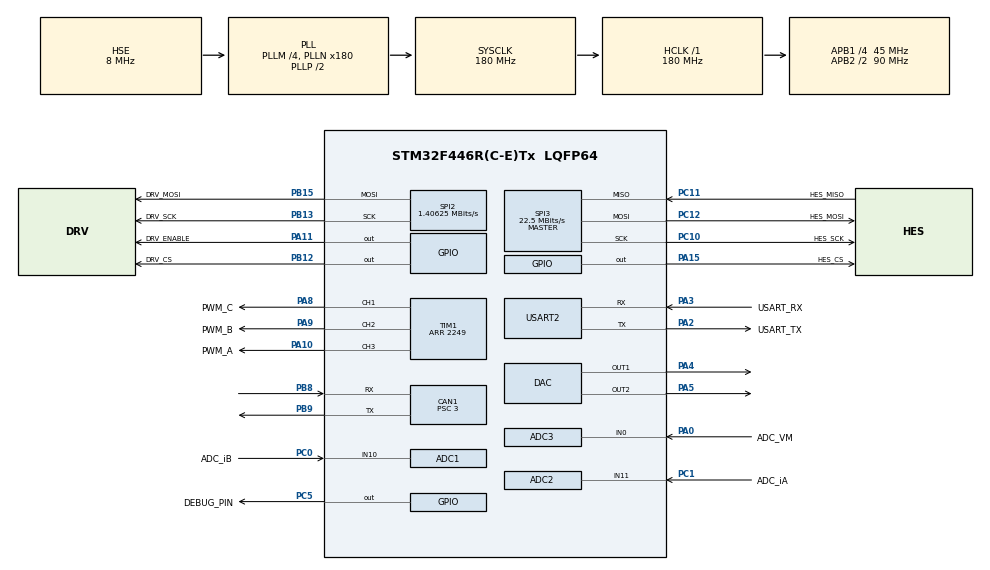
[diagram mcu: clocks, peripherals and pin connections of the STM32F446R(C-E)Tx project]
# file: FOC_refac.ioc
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ADC1.Channel-0\#ChannelRegularConversion=ADC_CHANNEL_10
ADC1.Mode=ADC_TRIPLEMODE_REGSIMULT
ADC1.NbrOfConversion=1
ADC1.NbrOfConversionFlag=1
ADC1.Rank-0\#ChannelRegularConversion=1
ADC1.SamplingTime-0\#ChannelRegularConversion=ADC_SAMPLETIME_3CYCLES
ADC1.master=1
ADC2.Channel-1\#ChannelRegularConversion=ADC_CHANNEL_11
ADC2.ClockPrescaler=ADC_CLOCK_SYNC_PCLK_DIV4
ADC2.Mode=ADC_TRIPLEMODE_REGSIMULT
ADC2.NbrOfConversionFlag=1
ADC2.Rank-1\#ChannelRegularConversion=1
ADC2.SamplingTime-1\#ChannelRegularConversion=ADC_SAMPLETIME_3CYCLES
ADC3.Channel-0\#ChannelRegularConversion=ADC_CHANNEL_0
ADC3.NbrOfConversionFlag=1
ADC3.Rank-0\#ChannelRegularConversion=1
ADC3.Resolution=ADC_RESOLUTION_12B
ADC3.SamplingTime-0\#ChannelRegularConversion=ADC_SAMPLETIME_3CYCLES
CAN1.BS1=CAN_BS1_12TQ
CAN1.BS2=CAN_BS2_2TQ
CAN1.CalculateBaudRate=1000000
CAN1.CalculateTimeBit=1000
CAN1.CalculateTimeQuantum=66.66666666666666
CAN1.Mode=CAN_MODE_NORMAL
CAN1.Prescaler=3
DAC.DAC_OutputBuffer=DAC_OUTPUTBUFFER_DISABLE
DAC.DAC_OutputBuffer2=DAC_OUTPUTBUFFER_DISABLE
Dma.Request0=SPI3_TX
Dma.Request1=SPI3_RX
Dma.SPI3_RX.1.Direction=DMA_PERIPH_TO_MEMORY
Dma.SPI3_RX.1.FIFOMode=DMA_FIFOMODE_DISABLE
Dma.SPI3_RX.1.Instance=DMA1_Stream0
Dma.SPI3_RX.1.MemDataAlignment=DMA_MDATAALIGN_HALFWORD
Dma.SPI3_RX.1.MemInc=DMA_MINC_ENABLE
Dma.SPI3_RX.1.Mode=DMA_NORMAL
Dma.SPI3_RX.1.PeriphDataAlignment=DMA_PDATAALIGN_HALFWORD
Dma.SPI3_RX.1.PeriphInc=DMA_PINC_DISABLE
Dma.SPI3_RX.1.Priority=DMA_PRIORITY_LOW
Dma.SPI3_TX.0.Direction=DMA_MEMORY_TO_PERIPH
Dma.SPI3_TX.0.FIFOMode=DMA_FIFOMODE_DISABLE
Dma.SPI3_TX.0.Instance=DMA1_Stream5
Dma.SPI3_TX.0.MemDataAlignment=DMA_MDATAALIGN_HALFWORD
Dma.SPI3_TX.0.MemInc=DMA_MINC_ENABLE
Dma.SPI3_TX.0.Mode=DMA_NORMAL
Dma.SPI3_TX.0.PeriphDataAlignment=DMA_PDATAALIGN_HALFWORD
Dma.SPI3_TX.0.PeriphInc=DMA_PINC_DISABLE
Dma.SPI3_TX.0.Priority=DMA_PRIORITY_LOW
Mcu.Family=STM32F4
Mcu.Name=STM32F446R(C-E)Tx
Mcu.Package=LQFP64
NVIC.CAN1_RX0_IRQn=true\:0\:0\:false\:false\:true\:true\:true\:true
NVIC.DMA1_Stream0_IRQn=true\:0\:0\:false\:false\:true\:false\:true\:true
NVIC.DMA1_Stream5_IRQn=true\:0\:0\:false\:false\:true\:false\:true\:true
NVIC.PriorityGroup=NVIC_PRIORITYGROUP_0
NVIC.TIM1_UP_TIM10_IRQn=true\:0\:0\:false\:false\:true\:true\:true\:true
NVIC.USART2_IRQn=true\:0\:0\:false\:false\:true\:true\:true\:true
PA0-WKUP.GPIO_Label=ADC_VM
PA0-WKUP.Signal=ADCx_IN0
PA10.GPIO_Label=PWM_A
PA10.GPIO_Speed=GPIO_SPEED_FREQ_VERY_HIGH
PA10.Signal=S_TIM1_CH3
PA11.GPIO_Label=DRV_ENABLE
PA11.Signal=GPIO_Output
PA13.GPIO_Label=SWDIO
PA13.Mode=Serial_Wire
PA13.Signal=SYS_JTMS-SWDIO
PA14.GPIO_Label=SWCLK
PA14.Mode=Serial_Wire
PA14.Signal=SYS_JTCK-SWCLK
PA15.GPIO_Label=HES_CS
PA15.Signal=GPIO_Output
PA2.GPIO_Label=USART_TX
PA2.Mode=Asynchronous
PA2.Signal=USART2_TX
PA3.GPIO_Label=USART_RX
PA3.Mode=Asynchronous
PA3.Signal=USART2_RX
PA4.Signal=COMP_DAC1_group
PA5.Signal=COMP_DAC2_group
PA8.GPIO_Label=PWM_C
PA8.GPIO_Speed=GPIO_SPEED_FREQ_VERY_HIGH
PA8.Signal=S_TIM1_CH1
PA9.GPIO_Label=PWM_B
PA9.GPIO_Speed=GPIO_SPEED_FREQ_VERY_HIGH
PA9.Signal=S_TIM1_CH2
PB12.GPIO_Label=DRV_CS
PB12.Signal=GPIO_Output
PB13.GPIO_Label=DRV_SCK
PB13.Mode=TX_Only_Simplex_Unidirect_Master
PB13.Signal=SPI2_SCK
PB14.GPIO_Label=DRV_MISO
PB14.Signal=SPI2_MISO
PB15.GPIO_Label=DRV_MOSI
PB15.Mode=TX_Only_Simplex_Unidirect_Master
PB15.Signal=SPI2_MOSI
PB3.Signal=SYS_JTDO-SWO
PB8.Mode=CAN_Activate
PB8.Signal=CAN1_RX
PB9.Mode=CAN_Activate
PB9.Signal=CAN1_TX
PC0.GPIO_Label=ADC_iB
PC0.Signal=ADCx_IN10
PC1.GPIO_Label=ADC_iA
PC1.Signal=ADCx_IN11
PC10.GPIO_Label=HES_SCK
PC10.Mode=Full_Duplex_Master
PC10.Signal=SPI3_SCK
PC11.GPIO_Label=HES_MISO
PC11.Mode=Full_Duplex_Master
PC11.Signal=SPI3_MISO
PC12.GPIO_Label=HES_MOSI
PC12.Mode=Full_Duplex_Master
PC12.Signal=SPI3_MOSI
PC5.GPIO_Label=DEBUG_PIN
PC5.Signal=GPIO_Output
PH0-OSC_IN.Mode=HSE-External-Oscillator
PH0-OSC_IN.Signal=RCC_OSC_IN
PH1-OSC_OUT.Mode=HSE-External-Oscillator
PH1-OSC_OUT.Signal=RCC_OSC_OUT
ProjectManager.HeapSize=0x200
ProjectManager.StackSize=0x400
ProjectManager.TargetToolchain=STM32CubeIDE
RCC.48MHZClocksFreq_Value=84000000
RCC.AHBFreq_Value=180000000
RCC.APB1CLKDivider=RCC_HCLK_DIV4
RCC.APB1Freq_Value=45000000
RCC.APB1TimFreq_Value=90000000
RCC.APB2CLKDivider=RCC_HCLK_DIV2
RCC.APB2Freq_Value=90000000
RCC.APB2TimFreq_Value=180000000
RCC.CortexFreq_Value=180000000
RCC.FLatency-AdvancedSettings=FLASH_LATENCY_5
RCC.HCLKFreq_Value=180000000
RCC.HSE_VALUE=8000000
RCC.HSI_VALUE=16000000
RCC.PLLI2SM=2
RCC.PLLM=4
RCC.PLLN=180
RCC.PLLSourceVirtual=RCC_PLLSOURCE_HSE
RCC.RCC_MCODiv1=RCC_MCODIV_2
RCC.SYSCLKFreq_VALUE=180000000
RCC.SYSCLKSource=RCC_SYSCLKSOURCE_PLLCLK
RCC.USBFreq_Value=180000000
RCC.VCOOutputFreq_Value=360000000
SH.ADCx_IN0.0=ADC3_IN0,IN0
SH.ADCx_IN10.0=ADC1_IN10,IN10
SH.ADCx_IN11.0=ADC2_IN11,IN11
SH.COMP_DAC1_group.0=DAC_OUT1,DAC_OUT1
SH.COMP_DAC2_group.0=DAC_OUT2,DAC_OUT2
SH.S_TIM1_CH1.0=TIM1_CH1,PWM Generation1 CH1
SH.S_TIM1_CH2.0=TIM1_CH2,PWM Generation2 CH2
SH.S_TIM1_CH3.0=TIM1_CH3,PWM Generation3 CH3
SPI2.BaudRatePrescaler=SPI_BAUDRATEPRESCALER_32
SPI2.CLKPhase=SPI_PHASE_2EDGE
SPI2.CalculateBaudRate=1.40625 MBits/s
SPI2.DataSize=SPI_DATASIZE_16BIT
SPI2.Direction=SPI_DIRECTION_2LINES
SPI2.Mode=SPI_MODE_MASTER
SPI2.VirtualType=VM_MASTER
SPI3.BaudRatePrescaler=SPI_BAUDRATEPRESCALER_2
SPI3.CLKPhase=SPI_PHASE_2EDGE
SPI3.CalculateBaudRate=22.5 MBits/s
SPI3.DataSize=SPI_DATASIZE_16BIT
SPI3.Direction=SPI_DIRECTION_2LINES
SPI3.Mode=SPI_MODE_MASTER
SPI3.VirtualType=VM_MASTER
TIM1.AutoReloadPreload=TIM_AUTORELOAD_PRELOAD_ENABLE
TIM1.Channel-PWM\ Generation1\ CH1=TIM_CHANNEL_1
TIM1.Channel-PWM\ Generation2\ CH2=TIM_CHANNEL_2
TIM1.Channel-PWM\ Generation3\ CH3=TIM_CHANNEL_3
TIM1.CounterMode=TIM_COUNTERMODE_CENTERALIGNED1
TIM1.OCFastMode_PWM-PWM\ Generation1\ CH1=TIM_OCFAST_ENABLE
TIM1.OCFastMode_PWM-PWM\ Generation2\ CH2=TIM_OCFAST_ENABLE
TIM1.OCFastMode_PWM-PWM\ Generation3\ CH3=TIM_OCFAST_ENABLE
TIM1.OCMode_PWM-PWM\ Generation1\ CH1=TIM_OCMODE_PWM1
TIM1.OCMode_PWM-PWM\ Generation2\ CH2=TIM_OCMODE_PWM1
TIM1.OCMode_PWM-PWM\ Generation3\ CH3=TIM_OCMODE_PWM1
TIM1.OCPolarity_1=TIM_OCPOLARITY_LOW
TIM1.OCPolarity_2=TIM_OCPOLARITY_LOW
TIM1.OCPolarity_3=TIM_OCPOLARITY_LOW
TIM1.Period=2249
TIM1.RepetitionCounter=1
USART2.VirtualMode=VM_ASYNC
VP_TIM1_VS_ClockSourceINT.Mode=Internal
board=NUCLEO-F446RE

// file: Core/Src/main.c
/* USER CODE BEGIN Header */
/**
  ******************************************************************************
  * @file           : main.c
  * @brief          : Main program body
  ******************************************************************************
  * @attention
  *
  * Copyright (c) 2022 STMicroelectronics.
  * All rights reserved.
  *
  * This software is licensed under terms that can be found in the LICENSE file
  * in the root directory of this software component.
  * If no LICENSE file comes with this software, it is provided AS-IS.
  *
  ******************************************************************************
  */
/* USER CODE END Header */
#include "main.h"
#include "adc.h"
#include "can.h"
#include "dac.h"
#include "dma.h"
#include "spi.h"
#include "tim.h"
#include "usart.h"
#include "gpio.h"

/* USER CODE BEGIN Includes */
#include "ES_Configure.h"
#include "ES_Framework.h"
#include "ES_Port.h"
#include "termio.h"

#include <stdio.h>
#include "stm32f4xx.h"                  // Device header

#include <stdint.h>
#include <stdbool.h>
#include <string.h>

#include "DRV.h"
#include "FOC.h"
#include "HES.h"
#include "Calibration.h"

/* USER CODE END Includes */

/* USER CODE BEGIN PD */
#define clrScrn() 	printf("\x1b[2J")
#define goHome()	printf("\x1b[1,1H")
#define clrLine()	printf("\x1b[K")

/* USER CODE END PD */

/* USER CODE BEGIN PV */
uint8_t UART2_rxBuffer;
uint8_t RxData = 0;
static volatile uint32_t DacState;
static volatile uint32_t DacState_2;

uint8_t CANFlag = 0;

//static double global_count = 0;

CAN_FilterTypeDef sFilterConfig;
CAN_TxHeaderTypeDef TxMessage;
CAN_RxHeaderTypeDef RxMessage;
uint8_t CANTxData[8];
uint32_t TxMailbox;
uint8_t CANRxData[8];

uint8_t hes_buffer_rx[2];
uint16_t hes_tx_message = ( (PARC<<15) | (W0_READ<<14) | ANGLEUNC );
uint8_t hes_buffer_tx[2]={0x00,0x00};

//SPI_HandleTypeDef hspi3;

//float dtc_u;
//float dtc_v;
//float dtc_w;
//uint32_t adc_a_raw;
//uint32_t adc_b_raw;
//uint32_t adc_a_offset = 0;
//uint32_t adc_b_offset = 0;

//ADC_HandleTypeDef hadc1;
//ADC_HandleTypeDef hadc2;
//SPI_HandleTypeDef hspi2;

foc_t foc;
calibration_t cal;
hes_t hes;

/* USER CODE END PV */

void SystemClock_Config(void);
/* USER CODE BEGIN PFP */

void init_DRV(foc_t* foc);
/*
int float_to_uint(float x, float x_min, float x_max);
float uint16_to_float(int x_int, float x_min, float x_max);
float uint8_to_float(int x_int, float x_min, float x_max);
*/
//void zero_current(foc_t *foc);

/* USER CODE END PFP */

/* USER CODE BEGIN 0 */
void HAL_TIM_PeriodElapsedCallback(TIM_HandleTypeDef *htim)
{
	//hes.counter++;
	//HAL_GPIO_TogglePin(GPIOC,GPIO_PIN_5); // debug pin
	//sample_ADC(&foc); // 4.2us !!!!!!!!!!!!!!!!!!!!!!!!!!
	//HES_ReadSensorDMA(&hes);
	//sample_HES(&foc,&cal,&hes);
	//HAL_DAC_SetValue(&hdac, DAC_CHANNEL_2, DAC_ALIGN_12B_R, 4094);

//
//	//for(int i=0;i<10000;i++){}
//
//	//printf("%ld\r\n",TIM1->CNT);
//
//
//	//HAL_GPIO_TogglePin(GPIOC,GPIO_PIN_5);
//	//HAL_DAC_SetValue(&hdac, DAC_CHANNEL_2, DAC_ALIGN_12B_R, 4094);
	HES_ReadSensorDMA(&hes);
//	sample_HES(&foc,&cal,&hes); //!!!!!!!!!!!!!!!!!!!!!!!!!!!!
//	//HAL_DAC_SetValue(&hdac, DAC_CHANNEL_2, DAC_ALIGN_12B_R, 0);
//
//	//HAL_DAC_SetValue(&hdac, DAC_CHANNEL_1, DAC_ALIGN_12B_R, 0);
//  	// if controller flag is on, then commutate
//	if(foc.voltage_FOC_flag == 1)
//	{
//		commutate(&foc,foc.theta_elec);
//
//		//HAL_DAC_SetValue(&hdac, DAC_CHANNEL_2, DAC_ALIGN_12B_R, 0);
//		//printf("%d \r\n",foc.torque_control_counter);
//		//HAL_DAC_SetValue(&hdac, DAC_CHANNEL_1, DAC_ALIGN_12B_R, (uint16_t)(foc.i_q*100000) );
//		//HAL_DAC_SetValue(&hdac, DAC_CHANNEL_1, DAC_ALIGN_12B_R, (uint16_t)(foc.i_q*4096));
//		//HAL_DAC_SetValue(&hdac, DAC_CHANNEL_2, DAC_ALIGN_12B_R, (uint16_t)(foc.i_d*4096));
//	}
//
//	else if(foc.controller_flag == 1)
//	{
//		//HAL_DAC_SetValue(&hdac, DAC_CHANNEL_2, DAC_ALIGN_12B_R, 4095);
//
//				// Uncomment for local torque controller
//				if(foc.torque_control_counter > 29)  // use 25 if using 25khz sampling freq
//				//if(foc.torque_control_counter > 25 && foc.torque_control_counter_total < 25*100)
//				{
//					torque_control(&foc); // **** ==== Uncomment to implement torque control within the MCU ==== ****
//					foc.torque_control_counter = 0;
//
//					 /*
//					foc.torque_control_counter_total++;
//					if(foc.torque_control_counter_total == 25*100)
//					{
//						HAL_GPIO_TogglePin(GPIOC,GPIO_PIN_5);// debug pin
//						foc.iq_ref = 0;
//						foc.id_ref = 0;
//						set_zero_DC();
//					}
//					 */
//
//					//HAL_DAC_SetValue(&hdac, DAC_CHANNEL_1, DAC_ALIGN_12B_R, 0);
//				}
//
//				foc.torque_control_counter++;
//				//HAL_DAC_SetValue(&hdac, DAC_CHANNEL_2, DAC_ALIGN_12B_R, 4094);
//				commutate_v2(&foc,foc.theta_elec);
//				//HAL_DAC_SetValue(&hdac, DAC_CHANNEL_2, DAC_ALIGN_12B_R, 0);
//
//	}
//
//	else if(foc.cal_flag == 1)
//	{
//		cal.loop_count++;
//		calibrate_HES2(&foc,&cal,cal.loop_count,&hes);
//	}
//	else if(foc.open_loop_test_flag == 1)
//	{
//		cal.loop_count++;
//		open_loop_test(&foc,&cal,cal.loop_count);
//	}
//	else if(foc.systemID_flag == 1)
//	{
//		cal.loop_count++;
//		commutate(&foc,foc.theta_elec);
//		//DacVal = (uint16_t)(foc.i_d*4096);
//		//HAL_DAC_SetValue(&hdac, DAC_CHANNEL_1, DAC_ALIGN_12B_R, DacVal );
//		if(cal.loop_count > 200)
//		{
//			foc.systemID_flag = 0; // set flag to zero to exit system ID state
//			cal.loop_count = 0;
//			set_zero_DC();
//			//HAL_DAC_SetValue(&hdac, DAC_CHANNEL_1, DAC_ALIGN_12B_R, 0);
//		}
//		printf("ia:%.3f ib:%.3f ic:%.3f u:%.3f v:%.3f w:%.3f id:%.3f iq:%.3f\r\n",foc.i_a,foc.i_b,foc.i_c,foc.v_u,foc.v_v,foc.v_w,foc.i_d,foc.i_q);
//
//	}
//	else
//	{
//		// do nothing
//	}
//	//HAL_DAC_SetValue(&hdac, DAC_CHANNEL_1, DAC_ALIGN_12B_R, (uint16_t)((foc.theta_dot_mech*4095)/50.0f));
//	//HAL_DAC_SetValue(&hdac, DAC_CHANNEL_2, DAC_ALIGN_12B_R, 0);
//	HAL_DAC_SetValue(&hdac, DAC_CHANNEL_2, DAC_ALIGN_12B_R, 0);

}
void HAL_SPI_TxRxCpltCallback(SPI_HandleTypeDef *hspi)
{
	//hes.counter++;
	//HAL_GPIO_TogglePin(GPIOC,GPIO_PIN_5); // debug pin
	HES_ReadSensorDMA_Complete(&hes);
	/*
	if(hspi->Instance == SPI3)
	{
		HES_ReadSensorDMA_Complete(&hes);
	}
	*/
	//while(1);
	/*
	hes_tx_message = ( (PARC<<15) | (W0_READ<<14) | ANGLEUNC ); // ANGLEUNC ANGLECOM
	hes_buffer_tx[0] = (uint8_t) (hes_tx_message & 0x00FF);
	hes_buffer_tx[1] = (uint8_t) ((hes_tx_message & 0xFF00)>>8);

	HAL_GPIO_WritePin(GPIOA, GPIO_PIN_15, GPIO_PIN_RESET);
	HAL_SPI_TransmitReceive_DMA(&hspi,hes_buffer_tx,hes_buffer_rx,2);
	HAL_GPIO_WritePin(GPIOA, GPIO_PIN_15, GPIO_PIN_SET);
	foc.theta_mech_raw = ( (hes_buffer_rx[1]<<8) | hes_buffer_rx[0] ) & 0x3FFF;
	*/
	//HAL_GPIO_WritePin(GPIOA, GPIO_PIN_15, GPIO_PIN_SET);
	//foc.theta_mech_raw = ( (hes_buffer_rx[1]<<8) | hes_buffer_rx[0] ) & 0x3FFF;
}
/* USER CODE END 0 */

int main(void)
{

  /* MCU Configuration--------------------------------------------------------*/

  /* Reset of all peripherals, Initializes the Flash interface and the Systick. */
  HAL_Init();

  /* Configure the system clock */
  SystemClock_Config();

  /* Initialize all configured peripherals */
  MX_GPIO_Init();
  MX_DMA_Init();
  MX_USART2_UART_Init();
  MX_TIM1_Init();
  MX_DAC_Init();
  MX_ADC1_Init();
  MX_ADC2_Init();
  MX_CAN1_Init();
  MX_SPI2_Init();
  MX_SPI3_Init();
  MX_ADC3_Init();
  /* USER CODE BEGIN 2 */

  /* CAN Config */
  HAL_CAN_Start(&hcan1);
  // Activate Rx CAN interrupt

  CANTxData[0] = 0x01;
  CANTxData[1] = 0x02;
  CANTxData[2] = 0x03;
  CANTxData[3] = 0x04;
  CANTxData[4] = 0x05;
  CANTxData[5] = 0x06;
  CANTxData[6] = 0x07;
  CANTxData[7] = 0x08; // in a single command, one can send 64 bits of data max

  /* DAC Config */
  HAL_DAC_Start(&hdac, DAC_CHANNEL_1);
  HAL_DAC_Start(&hdac, DAC_CHANNEL_2);
  DacState = 0;
  DacState_2 = 0;

  /*ADC Config */
  HAL_ADC_Start(&hadc1);
  HAL_ADC_Start(&hadc2);
  HAL_ADC_Start(&hadc3);

  /* Initialize the SPI DMA */

	//hes_buffer_tx[0] = (uint8_t) (hes_tx_message & 0x00FF);
	//hes_buffer_tx[1] = (uint8_t) ((hes_tx_message & 0xFF00)>>8);
  //hes->spiHandle = hspi3;

  hes_tx_message = ( (PARC<<15) | (W0_READ<<14) | ANGLEUNC ); // ANGLEUNC ANGLECOM
  hes_buffer_tx[0] = (uint8_t) (hes_tx_message & 0x00FF);
  hes_buffer_tx[1] = (uint8_t) ((hes_tx_message & 0xFF00)>>8);

  HAL_GPIO_WritePin(GPIOA, GPIO_PIN_15, GPIO_PIN_RESET);
  HAL_SPI_TransmitReceive_DMA(&hspi3,hes_buffer_tx,hes_buffer_rx,2);
  HAL_GPIO_WritePin(GPIOA, GPIO_PIN_15, GPIO_PIN_SET);
  foc.theta_mech_raw = ( (hes_buffer_rx[1]<<8) | hes_buffer_rx[0] ) & 0x3FFF;

  /* Init Terminal */
  //TERMIO_Init(); commented out since we're using HAL drivers for this /* Initialize Serial interface */
  clrScrn();

  printf("\n\r\n");
  printf("Starting Test Harness for \r\n");
  printf("the 2nd Generation Events & Services Framework V2.2\r\n");
  printf("%s %s\n",__TIME__, __DATE__);
  printf("\n\r\n");
  printf("MENU:\n\r");
  printf("Press 'q' Print List of Commands \n\r");
  printf("Press 'c' Print Variables \n\r");
  printf("Press 'k' Calibrate the HES \n\r");
  printf("Press 'p' Open Loop Test Post HES Calibration \n\r");
  printf("Press 'f' Run Voltage FOC \n\r");
  printf("Press 'i' System ID \n\r");
  printf("Press 'm' Turn ON the PI Controller \n\r");
  printf("Press 'o' Turn OFF the PI Controller \n\r");
  printf("Press 's' Query current state \n\r");
  printf("\n\r\n");

  /* Reset FOC Variables */
  reset_variables(&foc,&cal,&hes,&hspi3);
  warmup_HES();
  HAL_Delay(1000); // 1000 ms delay

  /* DRV INIT */
  HAL_GPIO_WritePin(GPIOA, GPIO_PIN_11, GPIO_PIN_RESET);
  HAL_Delay(2000); // 1000 ms delay
  HAL_GPIO_WritePin(GPIOB, GPIO_PIN_12, GPIO_PIN_SET); // start with CS line high for DRV
  init_DRV(&foc);

  /* PWM Config */
  HAL_TIM_PWM_Start(&htim1, TIM_CHANNEL_1);
  HAL_TIM_PWM_Start(&htim1, TIM_CHANNEL_2);
  HAL_TIM_PWM_Start(&htim1, TIM_CHANNEL_3);
  TIM1->CCR1 = (TIM1->ARR)*1050*0; // PA8
  TIM1->CCR2 = (TIM1->ARR)*500*0; // PA9
  TIM1->CCR3 = (TIM1->ARR)*250*0; // PA10

  /* Debug Pin */
  //HAL_GPIO_TogglePin(GPIOC,GPIO_PIN_5);

  /* HES CS Line */
  HAL_GPIO_WritePin(GPIOA, GPIO_PIN_15, GPIO_PIN_SET); // start with CS line high for HES

  /* Set Interrupt Priorities */
  NVIC_SetPriority(TIM1_UP_TIM10_IRQn, 1); // commutation > communication
  NVIC_SetPriority(CAN1_RX0_IRQn, 3);
  NVIC_SetPriority(USART2_IRQn, 4);

  /* Set DMA interrupt priority and enable */
  //MX_DMA_Init();

  /* Enable Interrupts */
  HAL_UART_Receive_IT(&huart2, &UART2_rxBuffer, 1);
  HAL_TIM_Base_Start_IT(&htim1);
  HAL_CAN_ActivateNotification(&hcan1, CAN_IT_RX_FIFO0_MSG_PENDING);

  HAL_DAC_SetValue(&hdac, DAC_CHANNEL_1, DAC_ALIGN_12B_R, 0);
  HAL_DAC_SetValue(&hdac, DAC_CHANNEL_2, DAC_ALIGN_12B_R, 0);

  // Now initialize the Events and Services Framework and start it running
  ES_Return_t ErrorType;
  ErrorType = ES_Initialize(ES_Timer_RATE_1mS); // SysTick 1 msec interrupts

  if ( ErrorType == Success ) {

	  ErrorType = ES_Run();
  }
  //if we got to here, there was an error
  switch (ErrorType){
  	  case FailedPost:
	    printf("Failed on attempt to Post\n");
	    break;
	  case FailedPointer:
	    printf("Failed on NULL pointer\n");
	    break;
	  case FailedInit:
	    printf("Failed Initialization\n");
	    break;
	 default:
	    printf("Other Failure\n");
	    break;
  }

  /* USER CODE END 2 */

  /* Infinite loop */
  /* USER CODE BEGIN WHILE */
  while (1)
  {
	//printf("count %f \n\r",global_count);
	//HAL_Delay(1000); // 1000 ms delay
//	printf("\r\nHello World");

    /* USER CODE END WHILE */

  }
}

void SystemClock_Config(void)
{
  RCC_OscInitTypeDef RCC_OscInitStruct = {0};
  RCC_ClkInitTypeDef RCC_ClkInitStruct = {0};

  /** Configure the main internal regulator output voltage
  */
  __HAL_RCC_PWR_CLK_ENABLE();
  __HAL_PWR_VOLTAGESCALING_CONFIG(PWR_REGULATOR_VOLTAGE_SCALE1);

  /** Initializes the RCC Oscillators according to the specified parameters
  * in the RCC_OscInitTypeDef structure.
  */
  RCC_OscInitStruct.OscillatorType = RCC_OSCILLATORTYPE_HSE;
  RCC_OscInitStruct.HSEState = RCC_HSE_ON;
  RCC_OscInitStruct.PLL.PLLState = RCC_PLL_ON;
  RCC_OscInitStruct.PLL.PLLSource = RCC_PLLSOURCE_HSE;
  RCC_OscInitStruct.PLL.PLLM = 4;
  RCC_OscInitStruct.PLL.PLLN = 180;
  RCC_OscInitStruct.PLL.PLLP = RCC_PLLP_DIV2;
  RCC_OscInitStruct.PLL.PLLQ = 2;
  RCC_OscInitStruct.PLL.PLLR = 2;
  if (HAL_RCC_OscConfig(&RCC_OscInitStruct) != HAL_OK)
  {
    Error_Handler();
  }

  /** Activate the Over-Drive mode
  */
  if (HAL_PWREx_EnableOverDrive() != HAL_OK)
  {
    Error_Handler();
  }

  /** Initializes the CPU, AHB and APB buses clocks
  */
  RCC_ClkInitStruct.ClockType = RCC_CLOCKTYPE_HCLK|RCC_CLOCKTYPE_SYSCLK
                              |RCC_CLOCKTYPE_PCLK1|RCC_CLOCKTYPE_PCLK2;
  RCC_ClkInitStruct.SYSCLKSource = RCC_SYSCLKSOURCE_PLLCLK;
  RCC_ClkInitStruct.AHBCLKDivider = RCC_SYSCLK_DIV1;
  RCC_ClkInitStruct.APB1CLKDivider = RCC_HCLK_DIV4;
  RCC_ClkInitStruct.APB2CLKDivider = RCC_HCLK_DIV2;

  if (HAL_RCC_ClockConfig(&RCC_ClkInitStruct, FLASH_LATENCY_5) != HAL_OK)
  {
    Error_Handler();
  }
}

/* USER CODE BEGIN 4 */

int __io_putchar(int ch) {
	HAL_UART_Transmit(&huart2, (uint8_t*)&ch, 1, 0xffff);
	return 0;
}

//int __io_getchar(void) {
//	HAL_UART_Receive(&huart2,(uint8_t *)UART2_rxBuffer, 1, 0xffff);
//	return 0;
//}
void HAL_UART_RxCpltCallback(UART_HandleTypeDef *huart)
{
    //HAL_UART_Transmit(&huart2, &UART2_rxBuffer, 1, 100);
	RxData=1;
	//HAL_GPIO_TogglePin(GPIOA,GPIO_PIN_5); // Toggle Green LED
    HAL_UART_Receive_IT(&huart2, &UART2_rxBuffer, 1);
}

void HAL_CAN_RxFifo0MsgPendingCallback(CAN_HandleTypeDef *hcan)
{

	//double GearRatio = 12.0;
	if(DacState == 0)
	{
		DacState = 4095;
		DacState_2 = 0;

	}
	else
	{
		DacState = 0;
		DacState_2 = 4095;
	}

	//HAL_DAC_SetValue(&hdac, DAC_CHANNEL_1, DAC_ALIGN_12B_R, DacState);

  // Read CAN
	//CANFlag = 1;
	//HAL_GPIO_TogglePin(GPIOC,GPIO_PIN_5);
	//HAL_GPIO_TogglePin(GPIOA,GPIO_PIN_5); // Toggle Green LED
	//HAL_GPIO_TogglePin(GPIOC,GPIO_PIN_5); // Toggle Green LED
	HAL_CAN_GetRxMessage(hcan, CAN_RX_FIFO0, &RxMessage, CANRxData); // CAN Rx
	//compose_msg(&TxMessage,foc.theta_mech,foc.theta_dot_mech);
	int theta_int,theta_dot_int,torque_cmd_int, led_flag, gen_cmd, dq_cmd_int,q_cmd_int,vq_cmd_int,iq_cmd_int,can_rx_vq_cmd_int,can_rx_iq_cmd_int;
	uint8_t kp_int,kd_int;
	float theta_float,theta_dot_float, dq_cmd_float,q_cmd_float,torque_cmd_float,kp_float,kd_float;

	//theta_int = float_to_uint(foc.theta_mech,-6.2831f,6.2831f);
	theta_int = float_to_uint16(foc.theta_mech_multiturn[0],-TWO_PI*GR,TWO_PI*GR);
	theta_dot_int = float_to_uint16(foc.theta_dot_mech,-SPEED_MAX,SPEED_MAX);
	//torque_cmd_int = float_to_uint(20.0f,-40.0f,40.0f);
	//torque_cmd_int = float_to_uint16(foc.i_a,-40.0f,40.0f);
	vq_cmd_int = float_to_uint16(foc.pi.vq_cmd,-V_MAX,V_MAX); // control voltage signal
	iq_cmd_int = float_to_uint16(foc.i_q,-I_MAX,I_MAX); // measured current signal
	// This is for troubleshooting the CAN Tx message
	//theta_int = float_to_uint(1.521,-6.2831f,6.2831f);
	//theta_dot_int = float_to_uint(21.23,-65.0f,65.0f);
	//theta_float = uint16_to_float(theta_int,-6.2831f,6.2831f);
	//theta_dot_float = uint16_to_float(theta_dot_int,-SPEED_MAX,SPEED_MAX);

	CANTxData[0] = theta_int>>8;    // get 8 MSB
	CANTxData[1] = theta_int&0xFF;  // get 8 LSB
	CANTxData[2] = theta_dot_int>>8;
	CANTxData[3] = theta_dot_int&0xFF;
	//CANTxData[4] = torque_cmd_int>>8;
	//CANTxData[5] = torque_cmd_int&0xFF;
	CANTxData[4] = vq_cmd_int>>8;
	CANTxData[5] = vq_cmd_int&0xFF;
	CANTxData[6] = iq_cmd_int>>8;
	CANTxData[7] = iq_cmd_int&0xFF;

	//for(int i=0;i<1000;i++){} // Delay
	HAL_CAN_AddTxMessage(&hcan1, &TxMessage, CANTxData, &TxMailbox); // CAN Tx
	//decompose_msg(&TxMessagefoc.can_rx_torques);
	//int torque_int = (CANRxData[0]<<8 | CANRxData[1]);

	//printf("KP: %u \n\r",kp_int);
	//printf("KP: %.3f \n\r",foc.kp);
	//printf("KD: %.3f \n\r",foc.kd);
	/*
	if(led_flag == 1)
	{
		HAL_GPIO_WritePin(GPIOC, GPIO_PIN_5, GPIO_PIN_SET); // turn LED on
	}
	else
	{
		HAL_GPIO_WritePin(GPIOC, GPIO_PIN_5, GPIO_PIN_RESET); // turn LED off
	}
	*/
	led_flag = CANRxData[0];
	gen_cmd = CANRxData[1];
	// switch statements to parse different CAN messages
	switch(gen_cmd)
	{
		case 1: // calibrate HES
			//foc.cal_flag = 1;
			CANFlag = 1;
			break;
		case 2: // turn off PI controller
			CANFlag = 2;
			/*
			foc.cal_flag = 0;
			foc.controller_flag = 0;
			foc.voltage_FOC_flag = 0;
			set_zero_DC();
			*/
			break;
		case 3: // run voltage FOC
			CANFlag = 3;
			//foc.voltage_FOC_flag = 1;
			can_rx_vq_cmd_int = (CANRxData[2]<<8 | CANRxData[3]);
			foc.can_rx.vq_cmd = uint16_to_float(can_rx_vq_cmd_int,-V_MAX,V_MAX);
			break;
		case 4: // position controller on
			CANFlag = 4;

			q_cmd_int = (CANRxData[2]<<8 | CANRxData[3]);
			kp_int = CANRxData[4];
			kd_int = CANRxData[5];
			q_cmd_float = uint16_to_float(q_cmd_int,-TWO_PI*GR,TWO_PI*GR);
			foc.can_rx.q = q_cmd_float;
			//foc.p_des = q_cmd_float;
			kp_float = uint8_to_float(kp_int,0.0f,0.1/foc.GAIN);
			kd_float = uint8_to_float(kd_int,0.0f,0.1/foc.GAIN);
			foc.kp = kp_float;
			foc.kd = kd_float;
			/*
		    foc.first_sample = 0.0;
		    foc.iq_ref = 0.0;
		    foc.id_ref = 0.0;
		    foc.theta_dot_mech_cmd = 0.1f;
		    //foc.theta_dot_mech_cmd = 30.0f;
		    foc.torque_control_counter_total = 0;
		    foc.p_des = 0.09f;
		    foc.controller_flag = 1;
		    foc.pos_control_flag = 1;
		    */
		    break;
		case 5: // speed controller on
			CANFlag = 5;
			dq_cmd_int = (CANRxData[2]<<8 | CANRxData[3]);
			kp_int = CANRxData[4];
			kd_int = CANRxData[5];
			dq_cmd_float = uint16_to_float(dq_cmd_int,-SPEED_MAX,SPEED_MAX);
			foc.can_rx.dq = dq_cmd_float;
			kp_float = uint8_to_float(kp_int,0.0f,0.1/foc.GAIN);
			kd_float = uint8_to_float(kd_int,0.0f,0.1/foc.GAIN);
			foc.kp = kp_float;
			foc.kd = kd_float;
			break;
		case 6: // dyno test on
			CANFlag = 3;
			can_rx_vq_cmd_int = (CANRxData[2]<<8 | CANRxData[3]);
			foc.can_rx.vq_cmd = uint16_to_float(can_rx_vq_cmd_int,-V_MAX,V_MAX);
			break;
		case 7:
			CANFlag = 7;
			break;
		case 8:
			CANFlag = 8;
			can_rx_iq_cmd_int = (CANRxData[2]<<8 | CANRxData[3]);
			foc.can_rx.iq_cmd = uint16_to_float(can_rx_iq_cmd_int,-I_MAX,I_MAX);
			break;
		case 9:
			CANFlag = 9;
			torque_cmd_int = (CANRxData[2]<<8 | CANRxData[3]);
			kp_int = CANRxData[4];
			kd_int = CANRxData[5];
			torque_cmd_float = uint16_to_float(torque_cmd_int,-TAU_MAX,TAU_MAX);
			foc.can_rx.torque_cmd = torque_cmd_float;
			kp_float = uint8_to_float(kp_int,0.0f,0.1/foc.GAIN);
			kd_float = uint8_to_float(kd_int,0.0f,0.1/foc.GAIN);
			foc.kp = kp_float;
			foc.kd = kd_float;
			break;
		default :
			CANFlag = 0;
	}

	/*
	dq_cmd_float = uint16_to_float(dq_cmd_int,-65.0f,65.0f);
	foc.can_rx_dq = dq_cmd_float;
	kp_float = uint8_to_float(kp_int,0.0f,0.1f);
	kd_float = uint8_to_float(kd_int,0.0f,0.1f);
	foc.kp = kp_float;
	foc.kd = kd_float;
	*/

	//foc.can_rx_torques = uint16_to_float(torque_int,-I_MAX*KT*GR,I_MAX*KT*GR);
	//HAL_DAC_SetValue(&hdac, DAC_CHANNEL_2, DAC_ALIGN_12B_R, DacState_2);
	//printf("tau: %.3f \n\r",foc.can_rx_torques);
	//printf("tau: %.3f theta_mech: %.3f theta_dot_mech: %.3f\n\r",foc.can_rx_torques,foc.theta_mech,foc.theta_dot_mech);

	// ===== Comment to turn off torque control from Mujoco to MCU =====
	//foc.iq_ref = foc.can_rx_torques /(KT*GR);
	foc.pi.id_ref = 0.0f;
	//for(int i=0;i<8;i++){
	//	CANTxData[i] = CANRxData[i];
	//}
	// send CAN message
	//HAL_CAN_AddTxMessage(&hcan1, &TxMessage, CANTxData, &TxMailbox);
	//printf("%d %.3f %d %d %.3f %.3f %.3f %.3f\n\r",torque_int,foc.can_rx_torques,theta_int,theta_dot_int,theta_float,foc.theta_mech,theta_dot_float,foc.theta_dot_mech);
	//HAL_DAC_SetValue(&hdac, DAC_CHANNEL_1, DAC_ALIGN_12B_R, 0);

}

int float_to_uint16(float x, float x_min, float x_max)
{
    float span = x_max - x_min;
    float offset = x_min;
    return (int)((x-offset)*((float)((1<<16)-1))/span);
}

float uint16_to_float(int x_int, float x_min, float x_max)
{
    /// converts unsigned int to float, given range and number of bits ///
    float span = x_max - x_min;
    float offset = x_min;
    return ((float)x_int)*span/((float)((1<<16)-1)) + offset;
}

float uint8_to_float(int x_int, float x_min, float x_max)
{
    /// converts unsigned int to float, given range and number of bits ///
    float span = x_max - x_min;
    float offset = x_min;
    return ((float)x_int)*span/((float)((1<<8)-1)) + offset;
}

void init_DRV(foc_t* foc)
{
	uint32_t tx_msg = 0;
	uint8_t SPI_DRV_DATA_TX[2] = {0x00,0x00};
	uint8_t SPI_DRV_DATA_RX[2] = {0x00,0x00};

    foc->pi.adc1_offset = 0;
    foc->pi.adc2_offset = 0;

	// Enable DRV
	printf("\n\r DRV ENABLE: \n\r");
	HAL_GPIO_WritePin(GPIOA, GPIO_PIN_11, GPIO_PIN_SET);
	HAL_Delay(1000); // 1000 ms delay

	// === Data Control Register ===
	tx_msg = ( (W0_WRITE<<15) | (DCR<<11) | (PWM_MODE_3X<<5) | (CLR_FLT) );
	SPI_DRV_DATA_TX[0] = (uint8_t) (tx_msg & 0x00FF);
	SPI_DRV_DATA_TX[1] = (uint8_t) ((tx_msg & 0xFF00)>>8);
	printf("\n\r DCR Config: \n\r");
  	printf("\rTX[0]: 0x%04X",SPI_DRV_DATA_TX[0]);
  	printf("\r\n");
  	printf("\rTX[1]: 0x%04X",SPI_DRV_DATA_TX[1]);
  	printf("\r\n");
	HAL_GPIO_WritePin(GPIOB, GPIO_PIN_12, GPIO_PIN_RESET);
	HAL_SPI_TransmitReceive(&hspi2, SPI_DRV_DATA_TX, SPI_DRV_DATA_RX, 1, 100);
	// wait for transmission complete
	while( hspi2.State == HAL_SPI_STATE_BUSY );
	// Set CS line high
	HAL_GPIO_WritePin(GPIOB, GPIO_PIN_12, GPIO_PIN_SET);
  	printf("\rRX[0]: 0x%04X",SPI_DRV_DATA_RX[0]);
  	printf("\r\n");
  	printf("\rRX[1]: 0x%04X",SPI_DRV_DATA_RX[1]);
  	printf("\r\n");
	HAL_Delay(1000); // 1000 ms delay
	tx_msg = 0;
	tx_msg = ( (W0_READ<<15) | (DCR<<11) );
	SPI_DRV_DATA_TX[0] = (uint8_t) (tx_msg & 0x00FF);
	SPI_DRV_DATA_TX[1] = (uint8_t) ((tx_msg & 0xFF00)>>8);
	HAL_GPIO_WritePin(GPIOB, GPIO_PIN_12, GPIO_PIN_RESET);
	HAL_SPI_TransmitReceive(&hspi2, SPI_DRV_DATA_TX, SPI_DRV_DATA_RX, 1, 100);
	// wait for transmission complete
	while( hspi2.State == HAL_SPI_STATE_BUSY );
	// Set CS line high
	HAL_GPIO_WritePin(GPIOB, GPIO_PIN_12, GPIO_PIN_SET);
  	printf("\rOCP[0]: 0x%04X",SPI_DRV_DATA_RX[0]);
  	printf("\r\n");
  	printf("\rOCP[1]: 0x%04X",SPI_DRV_DATA_RX[1]);
  	printf("\r\n");

	// === Current sense amplifier control register ===
	tx_msg = 0;
	//tx_msg = ( (W0_WRITE<<15) | (CSACR<<11) | (VREF_DIV_BI<<9) | (CSA_GAIN_40<<6) | (DIS_SEN_EN<<5) | (CSA_CAL_A_EN<<4)| (CSA_CAL_B_EN<<3) | (CSA_CAL_C_EN<<2) | (SEN_LVL_0_25V) );
	tx_msg = ( (W0_WRITE<<15) | (CSACR<<11) | (VREF_DIV_BI<<9) | (CSA_GAIN_40<<6) | (DIS_SEN_EN<<5) | (CSA_CAL_A_EN<<4)| (CSA_CAL_B_EN<<3) | (SEN_LVL_0_25V) );
	//tx_msg = ( (W0_WRITE<<15) | (CSACR<<11) | (VREF_DIV_BI<<9) | (CSA_GAIN_40<<6) | (CSA_CAL_A_EN<<4)| (CSA_CAL_B_EN<<3) | (SEN_LVL_1V) );
	SPI_DRV_DATA_TX[0] = (uint8_t) (tx_msg & 0x00FF);
	SPI_DRV_DATA_TX[1] = (uint8_t) ((tx_msg & 0xFF00)>>8);
	printf("\n\r CSA Config 1: \n\r");
  	printf("\rTX[0]: 0x%04X",SPI_DRV_DATA_TX[0]);
  	printf("\r\n");
  	printf("\rTX[1]: 0x%04X",SPI_DRV_DATA_TX[1]);
  	printf("\r\n");
	HAL_GPIO_WritePin(GPIOB, GPIO_PIN_12, GPIO_PIN_RESET);
	HAL_SPI_TransmitReceive(&hspi2, SPI_DRV_DATA_TX, SPI_DRV_DATA_RX, 1, 100);
	// wait for transmission complete
	while( hspi2.State == HAL_SPI_STATE_BUSY );
	// Set CS line high
	HAL_GPIO_WritePin(GPIOB, GPIO_PIN_12, GPIO_PIN_SET);
  	printf("\rRX[0]: 0x%04X",SPI_DRV_DATA_RX[0]);
  	printf("\r\n");
  	printf("\rRX[1]: 0x%04X",SPI_DRV_DATA_RX[1]);
  	printf("\r\n");
	HAL_Delay(1000); // 1000 ms delay

	// === Calibrate current sense amplifier ===
	zero_current(foc);
	//printf("\rHere!!!!\r\n");
	HAL_Delay(1000); // 1000 ms delay

	// === Current sense amplifier control register ===
	tx_msg = 0;
	//tx_msg = ( (W0_WRITE<<15) | (CSACR<<11) | (VREF_DIV_BI<<9) | (CSA_GAIN_40<<6) | (DIS_SEN_EN<<5) | (CSA_CAL_A_DIS<<4)| (CSA_CAL_B_DIS<<3) | (CSA_CAL_C_DIS<<2) | (SEN_LVL_0_25V) );
	tx_msg = ( (W0_WRITE<<15) | (CSACR<<11) | (VREF_DIV_BI<<9) | (CSA_GAIN_40<<6) | (DIS_SEN_EN<<5) | (CSA_CAL_A_DIS<<4)| (CSA_CAL_B_DIS<<3) | (SEN_LVL_0_25V) );
	SPI_DRV_DATA_TX[0] = (uint8_t) (tx_msg & 0x00FF);
	SPI_DRV_DATA_TX[1] = (uint8_t) ((tx_msg & 0xFF00)>>8);
	printf("\n\r CSA Config 2: \n\r");
  	printf("\rTX[0]: 0x%04X",SPI_DRV_DATA_TX[0]);
  	printf("\r\n");
  	printf("\rTX[1]: 0x%04X",SPI_DRV_DATA_TX[1]);
  	printf("\r\n");
	HAL_GPIO_WritePin(GPIOB, GPIO_PIN_12, GPIO_PIN_RESET);
	HAL_SPI_TransmitReceive(&hspi2, SPI_DRV_DATA_TX, SPI_DRV_DATA_RX, 1, 100);
	// wait for transmission complete
	while( hspi2.State == HAL_SPI_STATE_BUSY );
	// Set CS line high
	HAL_GPIO_WritePin(GPIOB, GPIO_PIN_12, GPIO_PIN_SET);
  	printf("\rRX[0]: 0x%04X",SPI_DRV_DATA_RX[0]);
  	printf("\r\n");
  	printf("\rRX[1]: 0x%04X",SPI_DRV_DATA_RX[1]);
  	printf("\r\n");
	HAL_Delay(1000); // 1000 ms delay
	tx_msg = 0;
	tx_msg = ( (W0_READ<<15) | (CSACR<<11) );
	SPI_DRV_DATA_TX[0] = (uint8_t) (tx_msg & 0x00FF);
	SPI_DRV_DATA_TX[1] = (uint8_t) ((tx_msg & 0xFF00)>>8);
	HAL_GPIO_WritePin(GPIOB, GPIO_PIN_12, GPIO_PIN_RESET);
	HAL_SPI_TransmitReceive(&hspi2, SPI_DRV_DATA_TX, SPI_DRV_DATA_RX, 1, 100);
	// wait for transmission complete
	while( hspi2.State == HAL_SPI_STATE_BUSY );
	// Set CS line high
	HAL_GPIO_WritePin(GPIOB, GPIO_PIN_12, GPIO_PIN_SET);
  	printf("\rOCP[0]: 0x%04X",SPI_DRV_DATA_RX[0]);
  	printf("\r\n");
  	printf("\rOCP[1]: 0x%04X",SPI_DRV_DATA_RX[1]);
  	printf("\r\n");

	// === Overcurrent protection control register ===
	tx_msg = 0;
	tx_msg = ( (W0_WRITE<<15) | (OCPCR<<11) | (TRETRY_50US<<10) | (DEAD_TIME_50NS<<8) | (OCP_MODE_RETRY<<6) | (OCP_DEG_4US<<4) | (VDS_LVL_0_45V) );
	SPI_DRV_DATA_TX[0] = (uint8_t) (tx_msg & 0x00FF);
	SPI_DRV_DATA_TX[1] = (uint8_t) ((tx_msg & 0xFF00)>>8);
	printf("\n\r OCP Config: \n\r");
  	printf("\rTX[0]: 0x%04X",SPI_DRV_DATA_TX[0]);
  	printf("\r\n");
  	printf("\rTX[1]: 0x%04X",SPI_DRV_DATA_TX[1]);
  	printf("\r\n");
	HAL_GPIO_WritePin(GPIOB, GPIO_PIN_12, GPIO_PIN_RESET);
	HAL_SPI_TransmitReceive(&hspi2, SPI_DRV_DATA_TX, SPI_DRV_DATA_RX, 1, 100);
	// wait for transmission complete
	while( hspi2.State == HAL_SPI_STATE_BUSY );
	// Set CS line high
	HAL_GPIO_WritePin(GPIOB, GPIO_PIN_12, GPIO_PIN_SET);
  	printf("\rRX[0]: 0x%04X",SPI_DRV_DATA_RX[0]);
  	printf("\r\n");
  	printf("\rRX[1]: 0x%04X",SPI_DRV_DATA_RX[1]);
  	printf("\r\n");
	HAL_Delay(1000); // 1000 ms delay
	tx_msg = 0;
	tx_msg = ( (W0_READ<<15) | (OCPCR<<11) );
	SPI_DRV_DATA_TX[0] = (uint8_t) (tx_msg & 0x00FF);
	SPI_DRV_DATA_TX[1] = (uint8_t) ((tx_msg & 0xFF00)>>8);
	HAL_GPIO_WritePin(GPIOB, GPIO_PIN_12, GPIO_PIN_RESET);
	HAL_SPI_TransmitReceive(&hspi2, SPI_DRV_DATA_TX, SPI_DRV_DATA_RX, 1, 100);
	// wait for transmission complete
	while( hspi2.State == HAL_SPI_STATE_BUSY );
	// Set CS line high
	HAL_GPIO_WritePin(GPIOB, GPIO_PIN_12, GPIO_PIN_SET);
  	printf("\rOCP[0]: 0x%04X",SPI_DRV_DATA_RX[0]);
  	printf("\r\n");
  	printf("\rOCP[1]: 0x%04X",SPI_DRV_DATA_RX[1]);
  	printf("\r\n");

}

/* USER CODE END 4 */

void Error_Handler(void)
{
  __disable_irq();
  while (1)
  {
  }
}
